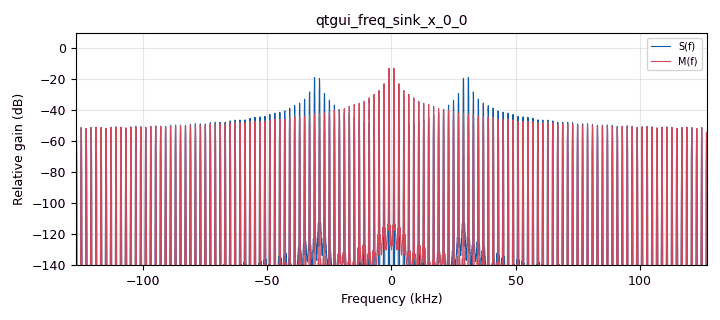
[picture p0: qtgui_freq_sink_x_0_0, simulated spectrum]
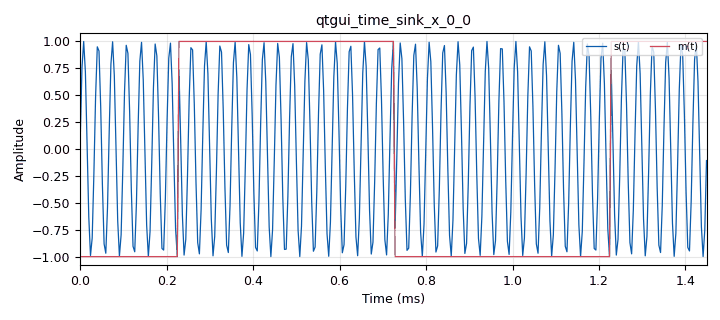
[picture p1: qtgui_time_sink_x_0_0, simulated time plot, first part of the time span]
<?xml version='1.0' encoding='utf-8'?>
<?grc format='1' created='3.7.9'?>
<flow_graph>
<block>
<key>options</key>
<param><key>id</key><value>top_block</value></param>
<param><key>category</key><value>Custom</value></param>
<param><key>generate_options</key><value>qt_gui</value></param>
</block>
<block>
<key>variable</key>
<param><key>id</key><value>fc</value></param>
<param><key>value</key><value>30000</value></param>
</block>
<block>
<key>variable</key>
<param><key>id</key><value>kvco</value></param>
<param><key>value</key><value>1</value></param>
</block>
<block>
<key>variable</key>
<param><key>id</key><value>samp_rate</value></param>
<param><key>value</key><value>254000</value></param>
</block>
<block>
<key>blocks_multiply_xx</key>
<param><key>id</key><value>blocks_multiply_xx_0</value></param>
<param><key>type</key><value>float</value></param>
</block>
<block>
<key>qtgui_freq_sink_x</key>
<param><key>id</key><value>qtgui_freq_sink_x_0_0</value></param>
<param><key>bw</key><value>samp_rate</value></param>
<param><key>fc</key><value>0</value></param>
<param><key>ctrlpanel</key><value>True</value></param>
<param><key>fftsize</key><value>4096</value></param>
<param><key>grid</key><value>True</value></param>
<param><key>label1</key><value>S(f)</value></param>
<param><key>label2</key><value>M(f)</value></param>
<param><key>nconnections</key><value>2</value></param>
<param><key>showports</key><value>True</value></param>
<param><key>type</key><value>float</value></param>
<param><key>wintype</key><value>firdes.WIN_BLACKMAN_hARRIS</value></param>
</block>
<block>
<key>qtgui_time_sink_x</key>
<param><key>id</key><value>qtgui_time_sink_x_0_0</value></param>
<param><key>ctrlpanel</key><value>True</value></param>
<param><key>grid</key><value>True</value></param>
<param><key>color1</key><value>"blue"</value></param>
<param><key>label1</key><value>s(t)</value></param>
<param><key>color2</key><value>"red"</value></param>
<param><key>label2</key><value>m(t)</value></param>
<param><key>nconnections</key><value>2</value></param>
<param><key>size</key><value>4096</value></param>
<param><key>srate</key><value>samp_rate</value></param>
<param><key>type</key><value>float</value></param>
</block>
<block>
<key>analog_sig_source_x</key>
<param><key>id</key><value>v</value></param>
<param><key>amp</key><value>2</value></param>
<param><key>freq</key><value>1000</value></param>
<param><key>offset</key><value>-1</value></param>
<param><key>type</key><value>float</value></param>
<param><key>samp_rate</key><value>samp_rate</value></param>
<param><key>waveform</key><value>analog.GR_SQR_WAVE</value></param>
</block>
<block>
<key>analog_sig_source_x</key>
<param><key>id</key><value>v_0</value></param>
<param><key>amp</key><value>1</value></param>
<param><key>freq</key><value>fc</value></param>
<param><key>offset</key><value>0</value></param>
<param><key>type</key><value>float</value></param>
<param><key>samp_rate</key><value>samp_rate</value></param>
<param><key>waveform</key><value>analog.GR_COS_WAVE</value></param>
</block>
<connection><source_block_id>blocks_multiply_xx_0</source_block_id><sink_block_id>qtgui_freq_sink_x_0_0</sink_block_id><source_key>0</source_key><sink_key>0</sink_key></connection>
<connection><source_block_id>blocks_multiply_xx_0</source_block_id><sink_block_id>qtgui_time_sink_x_0_0</sink_block_id><source_key>0</source_key><sink_key>0</sink_key></connection>
<connection><source_block_id>v</source_block_id><sink_block_id>blocks_multiply_xx_0</sink_block_id><source_key>0</source_key><sink_key>0</sink_key></connection>
<connection><source_block_id>v</source_block_id><sink_block_id>qtgui_freq_sink_x_0_0</sink_block_id><source_key>0</source_key><sink_key>1</sink_key></connection>
<connection><source_block_id>v</source_block_id><sink_block_id>qtgui_time_sink_x_0_0</sink_block_id><source_key>0</source_key><sink_key>1</sink_key></connection>
<connection><source_block_id>v_0</source_block_id><sink_block_id>blocks_multiply_xx_0</sink_block_id><source_key>0</source_key><sink_key>1</sink_key></connection>
</flow_graph>
